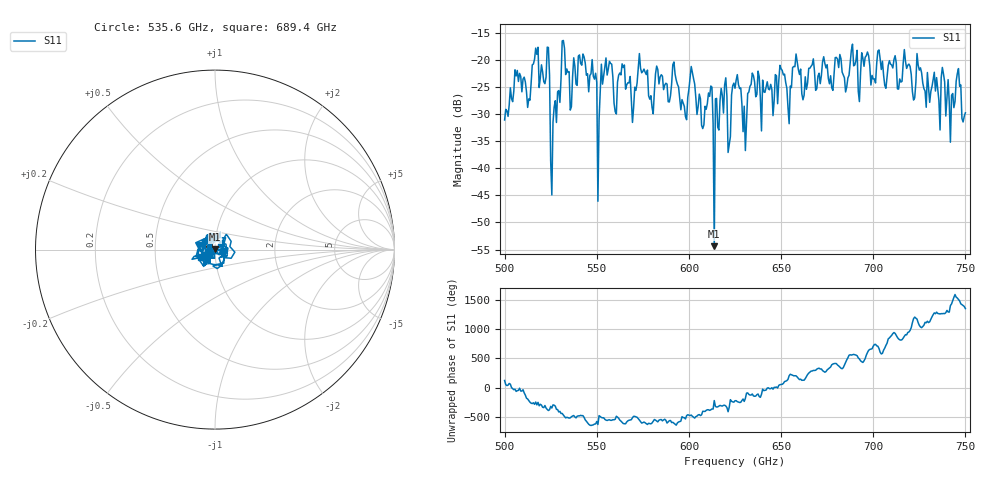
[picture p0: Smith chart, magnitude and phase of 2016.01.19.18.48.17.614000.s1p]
!Created with skrf (http://scikit-rf.org).
# GHz S RI R 50.0
!freq ReS11 ImS11
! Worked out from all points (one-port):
!   401 points, 500 GHz to 750 GHz, reference 50 ohm
!   lowest |S11| = -54.4 dB at 613.8 GHz (marker M1), VSWR 1.00, Z = 49.9 + j0.133 ohm
!   |S11| at or under -10 dB: start of sweep to end of sweep
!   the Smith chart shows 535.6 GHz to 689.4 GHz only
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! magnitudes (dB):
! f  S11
! 500 GHz  -31.1
! 506.9 GHz  -22.0
! 513.1 GHz  -27.2
! 516.9 GHz  -17.9
! 523.1 GHz  -17.7
! 526.2 GHz  -31.5
! 531.2 GHz  -16.6
! 548.1 GHz  -23.1
! 550.6 GHz  -46.1
! 553.8 GHz  -23.0
! 562.5 GHz  -22.5
! 593.8 GHz  -24.5
! 598.1 GHz  -30.5
! 601.9 GHz  -22.4
! 608.1 GHz  -32.0
! 611.2 GHz  -26.8
! 613.8 GHz  -54.4
! 618.8 GHz  -29.8
! 622.5 GHz  -34.2
! 625 GHz  -25.3
! 630 GHz  -28.6
! 634.4 GHz  -22.5
! 656.2 GHz  -21.5
! 687.5 GHz  -20.7
! 718.8 GHz  -21.0
! 740.6 GHz  -23.7
! 746.2 GHz  -21.6
! 750 GHz  -29.8
